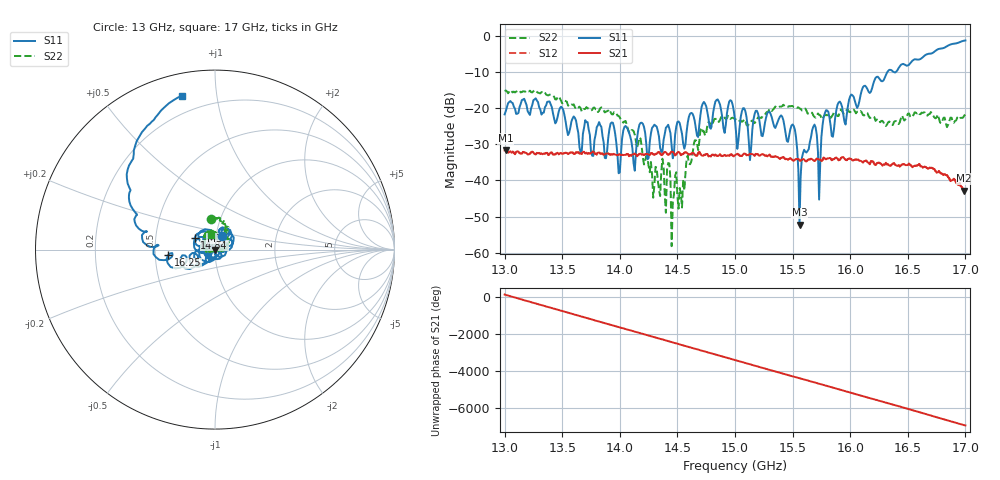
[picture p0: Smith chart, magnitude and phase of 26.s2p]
!Keysight Technologies,P9374A,MY57211807,A.19.30.04
!Date: Friday, May 01, 2026 14:45:03
!Correction: S11(C  2-Port  )
!S21(C  2-Port  )
!S12(C  2-Port  )
!S22(C  2-Port  )
!S2P File: Measurements: S11, S21, S12, S22:
# Hz S  RI  R 50
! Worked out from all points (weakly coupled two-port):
!   401 points, 13 GHz to 17 GHz, reference 50 ohm
!   highest |S21| = -31.60 dB at 13.01 GHz (marker M1); lowest = -42.8 dB at 16.99 GHz (marker M2)
!   lowest |S11| = -52.3 dB at 15.56 GHz (marker M3), VSWR 1.00, Z = 49.9 - j0.202 ohm
!   |S11| at or under -10 dB: start of sweep to 16.32 GHz; 16.38731 GHz to 16.39117 GHz (3.856 MHz wide, 0.0235 % of centre)
!   |S22| runs from -58.2 to -14.9 dB; largest |S21 - S12| = 0.00094
!   S11 on the Smith chart (normalised r, x): 13 GHz: 1.07, +0.16; 14.84 GHz: 0.79, +0.11; 16.25 GHz: 0.58, -0.04; 17 GHz: 0.11, +0.80
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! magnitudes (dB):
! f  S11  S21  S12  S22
! 13 GHz  -21.7  -31.6  -31.7  -15.2
! 13.01 GHz  -20.8  -31.6  -31.5  -15.0
! 13.39 GHz  -18.1  -32.6  -32.7  -16.2
! 13.67 GHz  -31.8  -32.6  -32.6  -20.9
! 13.93 GHz  -23.9  -32.7  -32.7  -21.6
! 13.98 GHz  -33.0  -32.9  -33.1  -22.0
! 14.05 GHz  -24.9  -32.9  -32.9  -23.5
! 14.12 GHz  -35.3  -32.7  -32.6  -26.3
! 14.34 GHz  -27.8  -32.1  -32.3  -42.5
! 14.52 GHz  -24.1  -32.4  -32.4  -42.1
! 14.84 GHz  -17.7  -33.2  -33.0  -22.8
! 15 GHz  -23.3  -33.0  -33.0  -23.0
! 15.4 GHz  -21.9  -33.7  -33.7  -19.5
! 15.51 GHz  -24.9  -34.5  -34.5  -19.6
! 15.56 GHz  -52.3  -34.4  -34.5  -20.0
! 15.67 GHz  -26.0  -34.1  -34.0  -21.2
! 15.73 GHz  -45.3  -34.2  -34.2  -21.8
! 15.79 GHz  -20.5  -34.1  -34.1  -21.8
! 16.25 GHz  -11.6  -35.1  -35.1  -23.4
! 16.34 GHz  -9.3  -35.9  -35.8  -23.6
! 16.99 GHz  -1.2  -42.8  -42.7  -22.0
! 17 GHz  -1.1  -42.7  -42.5  -21.7
